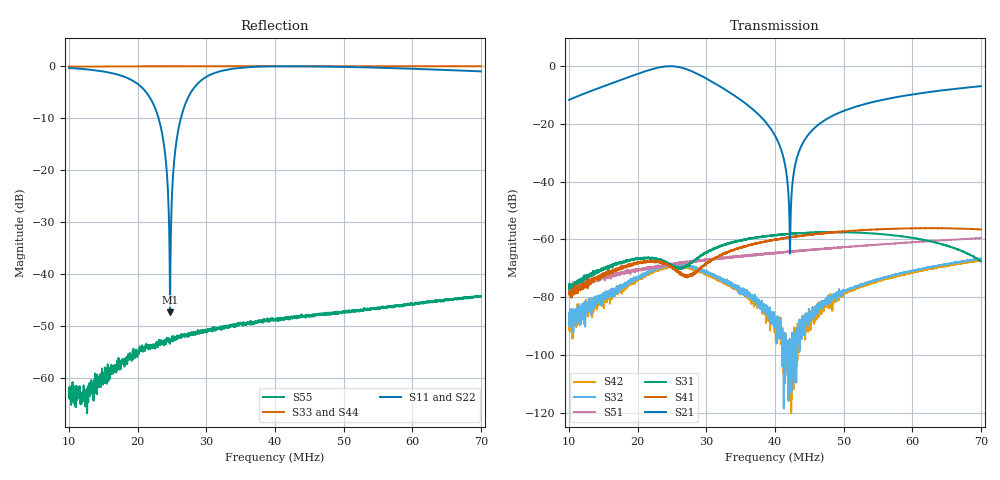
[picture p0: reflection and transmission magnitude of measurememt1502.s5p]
#  HZ  S  RI  R  50.00
! Rohde & Schwarz ZVT8 8Ports - Version 4.11 - 1300.0000k08 SN: 100242
! Date: 2026-07-06 11:26:15
! Measurements: S11 S12 S13 S14 S15 S21 S22 S23 S24 S25 S31 S32 S33 S34 S35 S41 S42 S43 S44 S45 S51 S52 S53 S54 S55
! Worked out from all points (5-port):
!   3001 points, 10 MHz to 70 MHz, reference 50 ohm
!   strongest paths, dB at 10 MHz, 25 MHz, 40 MHz, 55 MHz, 70 MHz:
!     S21: -11.7, -0.1, -24.1, -12.1, -7.0
!     S41: -78.6, -69.4, -60.2, -56.6, -56.6
!     S31: -77.1, -68.8, -58.5, -58.1, -67.6
!     S51: -76.4, -68.7, -64.8, -61.9, -59.6
!     S32: -89.8, -68.8, -89.8, -74.0, -66.7
!     S42: -86.8, -69.6, -90.0, -74.5, -67.3
!   lowest |S11| = -47.3 dB at 24.72 MHz (marker M1), VSWR 1.01, Z = 50.1 + j0.42 ohm
!   |S11| at or under -10 dB: 23.03 MHz to 26.28 MHz (3.252 MHz wide, 13.2 % of centre)
